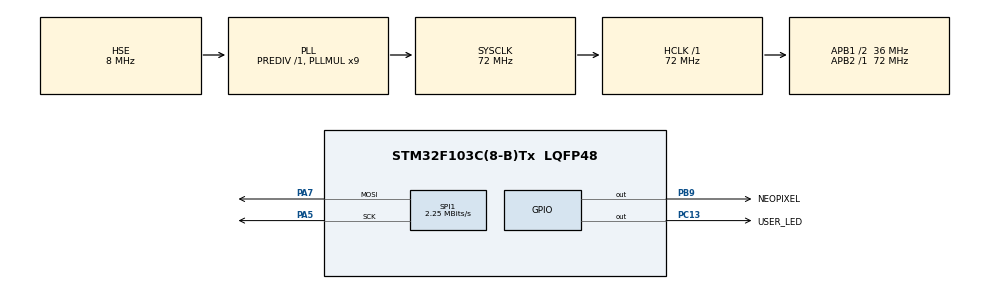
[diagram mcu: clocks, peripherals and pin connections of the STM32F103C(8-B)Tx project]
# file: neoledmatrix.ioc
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Dma.Request0=SPI1_TX
Dma.SPI1_TX.0.Direction=DMA_MEMORY_TO_PERIPH
Dma.SPI1_TX.0.Instance=DMA1_Channel3
Dma.SPI1_TX.0.MemDataAlignment=DMA_MDATAALIGN_BYTE
Dma.SPI1_TX.0.MemInc=DMA_MINC_ENABLE
Dma.SPI1_TX.0.Mode=DMA_NORMAL
Dma.SPI1_TX.0.PeriphDataAlignment=DMA_PDATAALIGN_BYTE
Dma.SPI1_TX.0.PeriphInc=DMA_PINC_DISABLE
Dma.SPI1_TX.0.Priority=DMA_PRIORITY_VERY_HIGH
Mcu.Family=STM32F1
Mcu.Name=STM32F103C(8-B)Tx
Mcu.Package=LQFP48
NVIC.DMA1_Channel3_IRQn=true\:0\:0\:false\:false\:true\:false\:true\:true
NVIC.PriorityGroup=NVIC_PRIORITYGROUP_4
PA13.Mode=Serial_Wire
PA13.Signal=SYS_JTMS-SWDIO
PA14.Mode=Serial_Wire
PA14.Signal=SYS_JTCK-SWCLK
PA5.Mode=TX_Only_Simplex_Unidirect_Master
PA5.Signal=SPI1_SCK
PA7.Mode=TX_Only_Simplex_Unidirect_Master
PA7.Signal=SPI1_MOSI
PB9.GPIO_Label=NEOPIXEL
PB9.GPIO_Speed=GPIO_SPEED_FREQ_HIGH
PB9.Signal=GPIO_Output
PC13-TAMPER-RTC.GPIO_Label=USER_LED
PC13-TAMPER-RTC.Signal=GPIO_Output
PC14-OSC32_IN.Mode=LSE-External-Oscillator
PC14-OSC32_IN.Signal=RCC_OSC32_IN
PC15-OSC32_OUT.Mode=LSE-External-Oscillator
PC15-OSC32_OUT.Signal=RCC_OSC32_OUT
PD0-OSC_IN.Mode=HSE-External-Oscillator
PD0-OSC_IN.Signal=RCC_OSC_IN
PD1-OSC_OUT.Mode=HSE-External-Oscillator
PD1-OSC_OUT.Signal=RCC_OSC_OUT
ProjectManager.HeapSize=0x200
ProjectManager.StackSize=0x400
ProjectManager.TargetToolchain=STM32CubeIDE
RCC.AHBFreq_Value=72000000
RCC.APB1CLKDivider=RCC_HCLK_DIV2
RCC.APB1Freq_Value=36000000
RCC.APB1TimFreq_Value=72000000
RCC.APB2Freq_Value=72000000
RCC.APB2TimFreq_Value=72000000
RCC.HCLKFreq_Value=72000000
RCC.PLLMUL=RCC_PLL_MUL9
RCC.PLLSourceVirtual=RCC_PLLSOURCE_HSE
RCC.SYSCLKFreq_VALUE=72000000
RCC.SYSCLKSource=RCC_SYSCLKSOURCE_PLLCLK
RCC.USBFreq_Value=72000000
SPI1.BaudRatePrescaler=SPI_BAUDRATEPRESCALER_32
SPI1.CalculateBaudRate=2.25 MBits/s
SPI1.Direction=SPI_DIRECTION_2LINES
SPI1.FirstBit=SPI_FIRSTBIT_LSB
SPI1.Mode=SPI_MODE_MASTER
SPI1.VirtualType=VM_MASTER
VP_RTC_No_RTC_Output.Mode=RTC_OUT_NO
VP_RTC_VS_RTC_Activate.Mode=RTC_Enabled
board=custom

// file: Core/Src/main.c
/* USER CODE BEGIN Header */
/**
 ******************************************************************************
 * @file           : main.c
 * @brief          : Main program body
 ******************************************************************************
 * @attention
 *
 * Copyright (c) 2022 STMicroelectronics.
 * All rights reserved.
 *
 * This software is licensed under terms that can be found in the LICENSE file
 * in the root directory of this software component.
 * If no LICENSE file comes with this software, it is provided AS-IS.
 *
 ******************************************************************************
 */
/* USER CODE END Header */
#include "main.h"

RTC_HandleTypeDef hrtc;

SPI_HandleTypeDef hspi1;
DMA_HandleTypeDef hdma_spi1_tx;

void SystemClock_Config(void);
static void MX_GPIO_Init(void);
static void MX_DMA_Init(void);
static void MX_RTC_Init(void);
static void MX_SPI1_Init(void);

/* USER CODE BEGIN 0 */

/*
 *   NEOPIXEL_GPIO_Port->BSRR = NEOPIXEL_Pin<< 16; //reset
 __asm("nop");
 NEOPIXEL_GPIO_Port->BSRR = NEOPIXEL_Pin; //set
 */
/*
 Data transfer time( TH+TL=1.25μs±600ns)
 T0H 0.4us±150ns
 T0L 0.85us±150ns

 T1H 0.8us±150ns
 T1L 0.45us ±150ns

 RES Above 50μs
 */
volatile int t0h = 10;
volatile int t0l = 10;
void send_sequence(uint32_t *bb, uint16_t size) {
	uint32_t b;
	for (int j = 0; j < size; j++) {
		b = bb[j];
		for (int i = 0; i < 32; i++) {
			if (b & 1) {
				//send 1
				NEOPIXEL_GPIO_Port->BSRR = NEOPIXEL_Pin; //set
				__asm("nop");
				__asm("nop");
				__asm("nop");
				__asm("nop");
				NEOPIXEL_GPIO_Port->BSRR = NEOPIXEL_Pin << 16; //reset
				__asm("nop");
				__asm("nop");
			} else {
				// send 0
				NEOPIXEL_GPIO_Port->BSRR = NEOPIXEL_Pin; //set
				for (int ii = 0; ii < t0h; ii++)
					__asm("nop");

				NEOPIXEL_GPIO_Port->BSRR = NEOPIXEL_Pin << 16; //reset
				for (int ii = 0; ii < t0l; ii++)
					__asm("nop");

			}
			b >>= 1;
		}
	}
}

#define ledcnt	(64)

volatile uint8_t a[ledcnt * 3] = { 0 };

volatile uint8_t spia[ledcnt * 3 * 3] = { 0 };

void init_leds() {
	for (int i = 0; i < ledcnt * 3; i++) {
		a[i] = 0x80;
	}
}

void send_sequence2(uint8_t *bb, uint8_t *sbb, uint16_t lcnt) {
	uint8_t l;
	uint32_t s,sc;
	sc = 0;
	for (int i = 0; i < lcnt * 3; i++) {
		l = bb[i];

		/* Data transfer time( TH+TL=1.25μs±600ns)
		 T0H 0.4us±150ns
		 T0L 0.85us±150ns

		 T1H 0.8us±150ns
		 T1L 0.45us ±150ns		 */
		s = 0;

		for (int j = 0; j < 8; j++) {
			if (l & 1) {
				//1 bit
				s |= 1 << (j * 3);
				s |= 1 << (j * 3 + 1);
			} else {
				// 0 bit
				s |= 1 << (j * 3);
				//s |= 1 << (j * 3 + 1);
			}
			l >>= 1;
		}
		sbb[sc++] = s;
		sbb[sc++] = (s >> 8);
		sbb[sc++] = (s >> 16);
	}
}

/* USER CODE END 0 */

int main(void) {

	/* MCU Configuration--------------------------------------------------------*/

	/* Reset of all peripherals, Initializes the Flash interface and the Systick. */
	HAL_Init();

	/* USER CODE BEGIN Init */
	__HAL_RCC_PWR_CLK_ENABLE();
	__HAL_RCC_BKP_CLK_ENABLE();
	HAL_PWR_EnableBkUpAccess();
	CLEAR_BIT(BKP->RTCCR, BKP_RTCCR_ASOE);
	HAL_PWR_DisableBkUpAccess();
	__HAL_RCC_BKP_CLK_DISABLE();
	__HAL_RCC_PWR_CLK_DISABLE();

	/* USER CODE END Init */

	/* Configure the system clock */
	SystemClock_Config();

	/* Initialize all configured peripherals */
	MX_GPIO_Init();
	MX_DMA_Init();
	MX_RTC_Init();
	MX_SPI1_Init();
	/* USER CODE BEGIN 2 */
	init_leds();

	/* USER CODE END 2 */

	/* Infinite loop */
	while (1) {

		/* USER CODE BEGIN 3 */
		send_sequence2(&a, &spia, ledcnt);
		HAL_SPI_Transmit_DMA(&hspi1, spia, ledcnt * 3 * 3);
		HAL_Delay(1);
		//send_sequence(&a, 4);

	}
	/* USER CODE END 3 */
}

void SystemClock_Config(void) {
	RCC_OscInitTypeDef RCC_OscInitStruct = { 0 };
	RCC_ClkInitTypeDef RCC_ClkInitStruct = { 0 };
	RCC_PeriphCLKInitTypeDef PeriphClkInit = { 0 };

	/** Initializes the RCC Oscillators according to the specified parameters
	 * in the RCC_OscInitTypeDef structure.
	 */
	RCC_OscInitStruct.OscillatorType = RCC_OSCILLATORTYPE_LSI
			| RCC_OSCILLATORTYPE_HSE;
	RCC_OscInitStruct.HSEState = RCC_HSE_ON;
	RCC_OscInitStruct.HSEPredivValue = RCC_HSE_PREDIV_DIV1;
	RCC_OscInitStruct.HSIState = RCC_HSI_ON;
	RCC_OscInitStruct.LSIState = RCC_LSI_ON;
	RCC_OscInitStruct.PLL.PLLState = RCC_PLL_ON;
	RCC_OscInitStruct.PLL.PLLSource = RCC_PLLSOURCE_HSE;
	RCC_OscInitStruct.PLL.PLLMUL = RCC_PLL_MUL9;
	if (HAL_RCC_OscConfig(&RCC_OscInitStruct) != HAL_OK) {
		Error_Handler();
	}

	/** Initializes the CPU, AHB and APB buses clocks
	 */
	RCC_ClkInitStruct.ClockType = RCC_CLOCKTYPE_HCLK | RCC_CLOCKTYPE_SYSCLK
			| RCC_CLOCKTYPE_PCLK1 | RCC_CLOCKTYPE_PCLK2;
	RCC_ClkInitStruct.SYSCLKSource = RCC_SYSCLKSOURCE_PLLCLK;
	RCC_ClkInitStruct.AHBCLKDivider = RCC_SYSCLK_DIV1;
	RCC_ClkInitStruct.APB1CLKDivider = RCC_HCLK_DIV2;
	RCC_ClkInitStruct.APB2CLKDivider = RCC_HCLK_DIV1;

	if (HAL_RCC_ClockConfig(&RCC_ClkInitStruct, FLASH_LATENCY_2) != HAL_OK) {
		Error_Handler();
	}
	PeriphClkInit.PeriphClockSelection = RCC_PERIPHCLK_RTC;
	PeriphClkInit.RTCClockSelection = RCC_RTCCLKSOURCE_LSI;
	if (HAL_RCCEx_PeriphCLKConfig(&PeriphClkInit) != HAL_OK) {
		Error_Handler();
	}
}

static void MX_RTC_Init(void) {

	RTC_TimeTypeDef sTime = { 0 };
	RTC_DateTypeDef DateToUpdate = { 0 };

	/** Initialize RTC Only
	 */
	hrtc.Instance = RTC;
	hrtc.Init.AsynchPrediv = RTC_AUTO_1_SECOND;
	hrtc.Init.OutPut = RTC_OUTPUTSOURCE_NONE;
	if (HAL_RTC_Init(&hrtc) != HAL_OK) {
		Error_Handler();
	}

	/** Initialize RTC and set the Time and Date
	 */
	sTime.Hours = 0x0;
	sTime.Minutes = 0x0;
	sTime.Seconds = 0x0;

	if (HAL_RTC_SetTime(&hrtc, &sTime, RTC_FORMAT_BCD) != HAL_OK) {
		Error_Handler();
	}
	DateToUpdate.WeekDay = RTC_WEEKDAY_MONDAY;
	DateToUpdate.Month = RTC_MONTH_JANUARY;
	DateToUpdate.Date = 0x1;
	DateToUpdate.Year = 0x0;

	if (HAL_RTC_SetDate(&hrtc, &DateToUpdate, RTC_FORMAT_BCD) != HAL_OK) {
		Error_Handler();
	}

}

static void MX_SPI1_Init(void) {

	/* SPI1 parameter configuration*/
	hspi1.Instance = SPI1;
	hspi1.Init.Mode = SPI_MODE_MASTER;
	hspi1.Init.Direction = SPI_DIRECTION_2LINES;
	hspi1.Init.DataSize = SPI_DATASIZE_8BIT;
	hspi1.Init.CLKPolarity = SPI_POLARITY_LOW;
	hspi1.Init.CLKPhase = SPI_PHASE_1EDGE;
	hspi1.Init.NSS = SPI_NSS_SOFT;
	hspi1.Init.BaudRatePrescaler = SPI_BAUDRATEPRESCALER_32;
	hspi1.Init.FirstBit = SPI_FIRSTBIT_LSB;
	hspi1.Init.TIMode = SPI_TIMODE_DISABLE;
	hspi1.Init.CRCCalculation = SPI_CRCCALCULATION_DISABLE;
	hspi1.Init.CRCPolynomial = 10;
	if (HAL_SPI_Init(&hspi1) != HAL_OK) {
		Error_Handler();
	}

}

static void MX_DMA_Init(void) {

	/* DMA controller clock enable */
	__HAL_RCC_DMA1_CLK_ENABLE();

	/* DMA interrupt init */
	/* DMA1_Channel3_IRQn interrupt configuration */
	HAL_NVIC_SetPriority(DMA1_Channel3_IRQn, 0, 0);
	HAL_NVIC_EnableIRQ(DMA1_Channel3_IRQn);

}

static void MX_GPIO_Init(void) {
	GPIO_InitTypeDef GPIO_InitStruct = { 0 };

	/* GPIO Ports Clock Enable */
	__HAL_RCC_GPIOC_CLK_ENABLE();
	__HAL_RCC_GPIOD_CLK_ENABLE();
	__HAL_RCC_GPIOA_CLK_ENABLE();
	__HAL_RCC_GPIOB_CLK_ENABLE();

	/*Configure GPIO pin Output Level */
	HAL_GPIO_WritePin(USER_LED_GPIO_Port, USER_LED_Pin, GPIO_PIN_RESET);

	/*Configure GPIO pin Output Level */
	HAL_GPIO_WritePin(NEOPIXEL_GPIO_Port, NEOPIXEL_Pin, GPIO_PIN_RESET);

	/*Configure GPIO pin : USER_LED_Pin */
	GPIO_InitStruct.Pin = USER_LED_Pin;
	GPIO_InitStruct.Mode = GPIO_MODE_OUTPUT_PP;
	GPIO_InitStruct.Pull = GPIO_NOPULL;
	GPIO_InitStruct.Speed = GPIO_SPEED_FREQ_LOW;
	HAL_GPIO_Init(USER_LED_GPIO_Port, &GPIO_InitStruct);

	/*Configure GPIO pin : NEOPIXEL_Pin */
	GPIO_InitStruct.Pin = NEOPIXEL_Pin;
	GPIO_InitStruct.Mode = GPIO_MODE_OUTPUT_PP;
	GPIO_InitStruct.Pull = GPIO_NOPULL;
	GPIO_InitStruct.Speed = GPIO_SPEED_FREQ_HIGH;
	HAL_GPIO_Init(NEOPIXEL_GPIO_Port, &GPIO_InitStruct);

}

void Error_Handler(void) {
	__disable_irq();
	while (1) {
	}
}
